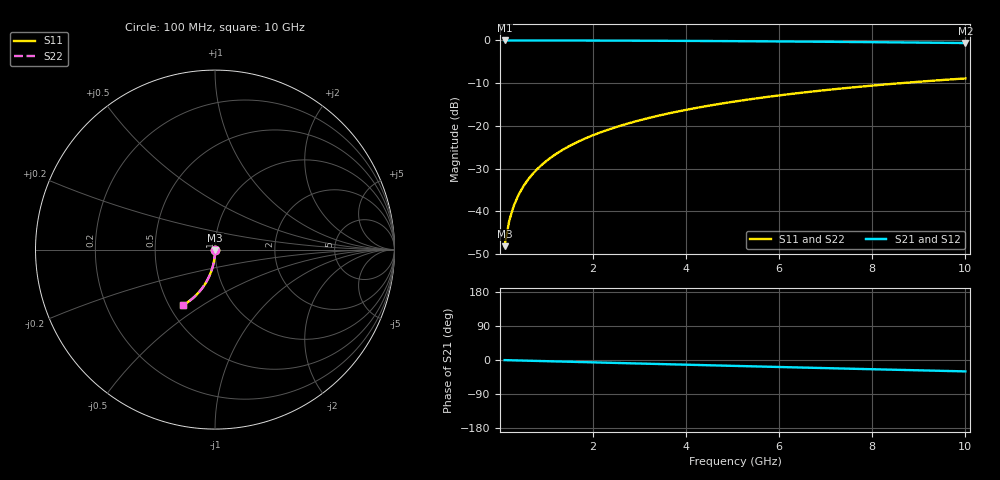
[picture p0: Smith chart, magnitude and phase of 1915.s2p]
# Hz S RI R 50.00
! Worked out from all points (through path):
!   100 points, 100 MHz to 10 GHz, reference 50 ohm
!   highest |S21| = 0.00 dB at 100 MHz (marker M1); lowest = -0.6 dB at 10 GHz (marker M2)
!   group delay of S21, straight-line fit = 8.38 ps
!   lowest |S11| = -48.2 dB at 100 MHz (marker M3), VSWR 1.01, Z = 50 - j0.389 ohm
!   |S11| at or under -10 dB: start of sweep to 8.623 GHz
!   |S22| runs from -48.2 to -8.9 dB; largest |S21 - S12| = 0
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1e8  0.000182 -0.00389  0.9998 -0.00542  0.9998 -0.00542  0.000182 -0.00389
2e8  0.000116 -0.00778  0.9997 -0.0108  0.9997 -0.0108  0.000116 -0.00778
3e8  6.98e-06 -0.0117  0.9996 -0.0163  0.9996 -0.0163  6.98e-06 -0.0117
4e8  -0.000144 -0.0156  0.9994 -0.0217  0.9994 -0.0217  -0.000144 -0.0156
5e8  -0.000338 -0.0194  0.9992 -0.0271  0.9992 -0.0271  -0.000338 -0.0194
6e8  -0.000573 -0.0233  0.999 -0.0325  0.999 -0.0325  -0.000573 -0.0233
7e8  -0.000851 -0.0272  0.9987 -0.0379  0.9987 -0.0379  -0.000851 -0.0272
8e8  -0.00117 -0.0311  0.9983 -0.0433  0.9983 -0.0433  -0.00117 -0.0311
9e8  -0.00153 -0.0349  0.9979 -0.0487  0.9979 -0.0487  -0.00153 -0.0349
1.1e9  -0.00238 -0.0427  0.997 -0.0595  0.997 -0.0595  -0.00238 -0.0427
1.4e9  -0.00397 -0.0542  0.9954 -0.0757  0.9954 -0.0757  -0.00397 -0.0542
1.8e9  -0.00667 -0.0695  0.9925 -0.0971  0.9925 -0.0971  -0.00667 -0.0695
2.1e9  -0.00912 -0.0809  0.9899 -0.1131  0.9899 -0.1131  -0.00912 -0.0809
2.5e9  -0.013 -0.096  0.9859 -0.1343  0.9859 -0.1343  -0.013 -0.096
2.9e9  -0.0174 -0.1108  0.9811 -0.1553  0.9811 -0.1553  -0.0174 -0.1108
3.4e9  -0.0239 -0.129  0.9743 -0.1812  0.9743 -0.1812  -0.0239 -0.129
4.2e9  -0.0362 -0.1572  0.9612 -0.2218  0.9612 -0.2218  -0.0362 -0.1572
5.1e9  -0.0528 -0.1873  0.9437 -0.2659  0.9437 -0.2659  -0.0528 -0.1873
5.9e9  -0.0697 -0.2124  0.9257 -0.3035  0.9257 -0.3035  -0.0697 -0.2124
6.7e9  -0.0884 -0.2357  0.9058 -0.3394  0.9058 -0.3394  -0.0884 -0.2357
8.4e9  -0.1332 -0.2788  0.8577 -0.4094  0.8577 -0.4094  -0.1332 -0.2788
1e10  -0.18 -0.3107  0.8072 -0.467  0.8072 -0.467  -0.18 -0.3107
